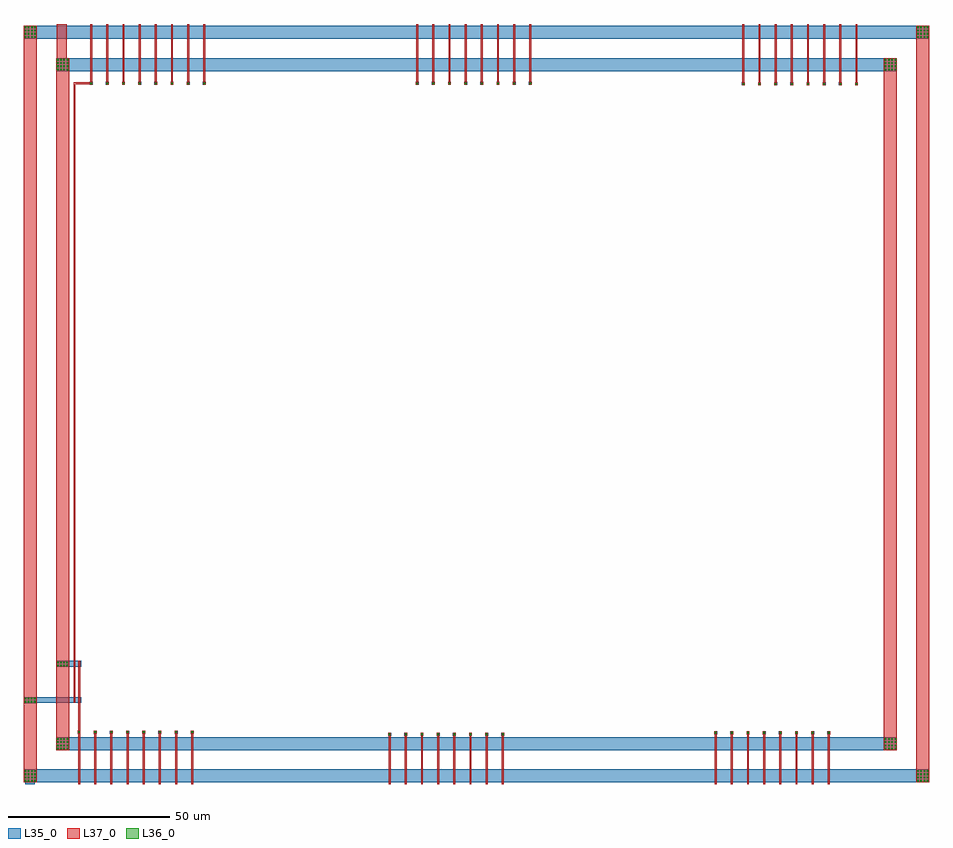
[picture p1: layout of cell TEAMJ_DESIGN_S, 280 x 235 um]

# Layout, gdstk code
import gdstk
lib = gdstk.Library(unit=1e-6, precision=1e-09)
def R(c, l, rs):  # rectangles x0, y0, x1, y1
    for r in rs: c.add(gdstk.rectangle(r[:2], r[2:], *l))
def A(c, l, x, y, w, h, nx, ny, dx, dy):  # array of equal rectangles
    R(c, l, [(x+i*dx, y+j*dy, x+i*dx+w, y+j*dy+h) for i in range(nx) for j in range(ny)])
def P(c, l, *ps):  # polygons
    for p in ps: c.add(gdstk.Polygon(p, *l))
L35_0 = (35, 0)
L36_0 = (36, 0)
L37_0 = (37, 0)

d2_design_io = lib.new_cell('D2_DESIGN_IO')
A(d2_design_io, L35_0, 25.05, -201.85, 0.9, 0.9, 4, 4, 1, 1)
A(d2_design_io, L35_0, 301.05, -201.85, 0.9, 0.9, 4, 4, 1, 1)
A(d2_design_io, L35_0, 35.05, -191.9, 0.9, 0.9, 4, 4, 1, 1)
A(d2_design_io, L35_0, 291.05, -191.9, 0.9, 0.9, 4, 4, 1, 1)
A(d2_design_io, L35_0, 137.7, -187.45, 0.9, 0.9, 8, 1, 5, 0)
A(d2_design_io, L35_0, 238.5, -187, 0.9, 0.9, 8, 1, 5, 0)
A(d2_design_io, L35_0, 41.65, -186.8, 0.9, 0.9, 8, 1, 5, 0)
A(d2_design_io, L35_0, 247.05, 13.65, 0.9, 0.9, 8, 1, 5, 0)
A(d2_design_io, L35_0, 45.4, 13.8, 0.9, 0.9, 8, 1, 5, 0)
A(d2_design_io, L35_0, 146.2, 13.8, 0.9, 0.9, 8, 1, 5, 0)
A(d2_design_io, L35_0, 291.05, 18.1, 0.9, 0.9, 4, 4, 1, 1)
A(d2_design_io, L35_0, 25.05, 28.15, 0.9, 0.9, 4, 4, 1, 1)
A(d2_design_io, L35_0, 301.05, 28.15, 0.9, 0.9, 4, 4, 1, 1)
R(d2_design_io, L35_0, [(25.45,-202.4,28.45,-199.65), (25.05,-201.85,28.95,-197.95), (301.05,-201.85,304.95,-197.95), (35.05,-191.9,38.95,-188), (291.05,-191.9,294.95,-188), (35.05,18.1,38.95,22), (291.05,18.1,294.95,22), (25.05,28.15,28.95,32.05), (301.05,28.15,304.95,32.05)])
A(d2_design_io, L36_0, 25.25, -201.65, 0.5, 0.5, 4, 4, 1, 1)
A(d2_design_io, L36_0, 301.25, -201.65, 0.5, 0.5, 4, 4, 1, 1)
A(d2_design_io, L36_0, 35.25, -191.7, 0.5, 0.5, 4, 4, 1, 1)
A(d2_design_io, L36_0, 291.25, -191.7, 0.5, 0.5, 4, 4, 1, 1)
A(d2_design_io, L36_0, 137.9, -187.25, 0.5, 0.5, 8, 1, 5, 0)
A(d2_design_io, L36_0, 238.7, -186.8, 0.5, 0.5, 8, 1, 5, 0)
A(d2_design_io, L36_0, 41.85, -186.6, 0.5, 0.5, 8, 1, 5, 0)
A(d2_design_io, L36_0, 247.25, 13.85, 0.5, 0.5, 8, 1, 5, 0)
A(d2_design_io, L36_0, 45.6, 14, 0.5, 0.5, 8, 1, 5, 0)
A(d2_design_io, L36_0, 146.4, 14, 0.5, 0.5, 8, 1, 5, 0)
A(d2_design_io, L36_0, 35.25, 18.3, 0.5, 0.5, 4, 4, 1, 1)
A(d2_design_io, L36_0, 291.25, 18.3, 0.5, 0.5, 4, 4, 1, 1)
A(d2_design_io, L36_0, 25.25, 28.35, 0.5, 0.5, 4, 4, 1, 1)
A(d2_design_io, L36_0, 301.25, 28.35, 0.5, 0.5, 4, 4, 1, 1)
A(d2_design_io, L37_0, 25.1, -201.8, 0.8, 0.8, 4, 4, 1, 1)
A(d2_design_io, L37_0, 301.1, -201.8, 0.8, 0.8, 4, 4, 1, 1)
A(d2_design_io, L37_0, 35.1, -191.85, 0.8, 0.8, 4, 4, 1, 1)
A(d2_design_io, L37_0, 291.1, -191.85, 0.8, 0.8, 4, 4, 1, 1)
A(d2_design_io, L37_0, 291.1, 18.15, 0.8, 0.8, 4, 4, 1, 1)
A(d2_design_io, L37_0, 25.1, 28.2, 0.8, 0.8, 4, 4, 1, 1)
A(d2_design_io, L37_0, 301.1, 28.2, 0.8, 0.8, 4, 4, 1, 1)
R(d2_design_io, L37_0, [(25.1,-201.8,28.9,-198), (301.1,-201.8,304.9,-198), (35.1,-191.85,38.9,-188.05), (291.1,-191.85,294.9,-188.05), (291.1,18.15,294.9,21.95), (25.1,28.2,28.9,32), (301.1,28.2,304.9,32)])
P(d2_design_io, L37_0, [(282.1,13.7),(282.9,13.7),(282.9,14.5),(282.8,14.5),(282.8,32.6),(282.2,32.6),(282.2,14.5),(282.1,14.5)],
  [(277.1,13.7),(277.9,13.7),(277.9,14.5),(277.8,14.5),(277.8,32.6),(277.2,32.6),(277.2,14.5),(277.1,14.5)],
  [(272.1,13.7),(272.9,13.7),(272.9,14.5),(272.8,14.5),(272.8,32.6),(272.2,32.6),(272.2,14.5),(272.1,14.5)],
  [(267.1,13.7),(267.9,13.7),(267.9,14.5),(267.8,14.5),(267.8,32.6),(267.2,32.6),(267.2,14.5),(267.1,14.5)],
  [(262.1,13.7),(262.9,13.7),(262.9,14.5),(262.8,14.5),(262.8,32.6),(262.2,32.6),(262.2,14.5),(262.1,14.5)],
  [(257.1,13.7),(257.9,13.7),(257.9,14.5),(257.8,14.5),(257.8,32.6),(257.2,32.6),(257.2,14.5),(257.1,14.5)],
  [(252.1,13.7),(252.9,13.7),(252.9,14.5),(252.8,14.5),(252.8,32.6),(252.2,32.6),(252.2,14.5),(252.1,14.5)],
  [(247.1,13.7),(247.9,13.7),(247.9,14.5),(247.8,14.5),(247.8,32.6),(247.2,32.6),(247.2,14.5),(247.1,14.5)],
  [(181.25,13.85),(182.05,13.85),(182.05,14.65),(181.95,14.65),(181.95,32.6),(181.35,32.6),(181.35,14.65),(181.25,14.65)],
  [(176.25,13.85),(177.05,13.85),(177.05,14.65),(176.95,14.65),(176.95,32.6),(176.35,32.6),(176.35,14.65),(176.25,14.65)],
  [(171.25,13.85),(172.05,13.85),(172.05,14.65),(171.95,14.65),(171.95,32.6),(171.35,32.6),(171.35,14.65),(171.25,14.65)],
  [(166.25,13.85),(167.05,13.85),(167.05,14.65),(166.95,14.65),(166.95,32.6),(166.35,32.6),(166.35,14.65),(166.25,14.65)],
  [(161.25,13.85),(162.05,13.85),(162.05,14.65),(161.95,14.65),(161.95,32.6),(161.35,32.6),(161.35,14.65),(161.25,14.65)],
  [(156.25,13.85),(157.05,13.85),(157.05,14.65),(156.95,14.65),(156.95,32.6),(156.35,32.6),(156.35,14.65),(156.25,14.65)],
  [(151.25,13.85),(152.05,13.85),(152.05,14.65),(151.95,14.65),(151.95,32.6),(151.35,32.6),(151.35,14.65),(151.25,14.65)],
  [(146.25,13.85),(147.05,13.85),(147.05,14.65),(146.95,14.65),(146.95,32.6),(146.35,32.6),(146.35,14.65),(146.25,14.65)],
  [(80.45,13.85),(81.25,13.85),(81.25,14.65),(81.15,14.65),(81.15,32.6),(80.55,32.6),(80.55,14.65),(80.45,14.65)],
  [(75.45,13.85),(76.25,13.85),(76.25,14.65),(76.15,14.65),(76.15,32.6),(75.55,32.6),(75.55,14.65),(75.45,14.65)],
  [(70.45,13.85),(71.25,13.85),(71.25,14.65),(71.15,14.65),(71.15,32.6),(70.55,32.6),(70.55,14.65),(70.45,14.65)],
  [(65.45,13.85),(66.25,13.85),(66.25,14.65),(66.15,14.65),(66.15,32.6),(65.55,32.6),(65.55,14.65),(65.45,14.65)],
  [(60.45,13.85),(61.25,13.85),(61.25,14.65),(61.15,14.65),(61.15,32.6),(60.55,32.6),(60.55,14.65),(60.45,14.65)],
  [(55.45,13.85),(56.25,13.85),(56.25,14.65),(56.15,14.65),(56.15,32.6),(55.55,32.6),(55.55,14.65),(55.45,14.65)],
  [(50.45,13.85),(51.25,13.85),(51.25,14.65),(51.15,14.65),(51.15,32.6),(50.55,32.6),(50.55,14.65),(50.45,14.65)],
  [(45.45,13.85),(46.25,13.85),(46.25,14.65),(46.15,14.65),(46.15,32.6),(45.55,32.6),(45.55,14.65),(45.45,14.65)],
  [(35.1,18.15),(38.9,18.15),(38.9,21.95),(38.25,21.95),(38.25,32.6),(35.25,32.6),(35.25,21.95),(35.1,21.95)],
  [(273.55,-186.95),(273.65,-186.95),(273.65,-202.4),(274.25,-202.4),(274.25,-186.95),(274.35,-186.95),(274.35,-186.15),(273.55,-186.15)],
  [(268.55,-186.95),(268.65,-186.95),(268.65,-202.4),(269.25,-202.4),(269.25,-186.95),(269.35,-186.95),(269.35,-186.15),(268.55,-186.15)],
  [(263.55,-186.95),(263.65,-186.95),(263.65,-202.4),(264.25,-202.4),(264.25,-186.95),(264.35,-186.95),(264.35,-186.15),(263.55,-186.15)],
  [(258.55,-186.95),(258.65,-186.95),(258.65,-202.4),(259.25,-202.4),(259.25,-186.95),(259.35,-186.95),(259.35,-186.15),(258.55,-186.15)],
  [(253.55,-186.95),(253.65,-186.95),(253.65,-202.4),(254.25,-202.4),(254.25,-186.95),(254.35,-186.95),(254.35,-186.15),(253.55,-186.15)],
  [(248.55,-186.95),(248.65,-186.95),(248.65,-202.4),(249.25,-202.4),(249.25,-186.95),(249.35,-186.95),(249.35,-186.15),(248.55,-186.15)],
  [(243.55,-186.95),(243.65,-186.95),(243.65,-202.4),(244.25,-202.4),(244.25,-186.95),(244.35,-186.95),(244.35,-186.15),(243.55,-186.15)],
  [(238.55,-186.95),(238.65,-186.95),(238.65,-202.4),(239.25,-202.4),(239.25,-186.95),(239.35,-186.95),(239.35,-186.15),(238.55,-186.15)],
  [(172.75,-187.4),(172.85,-187.4),(172.85,-202.4),(173.45,-202.4),(173.45,-187.4),(173.55,-187.4),(173.55,-186.6),(172.75,-186.6)],
  [(167.75,-187.4),(167.85,-187.4),(167.85,-202.4),(168.45,-202.4),(168.45,-187.4),(168.55,-187.4),(168.55,-186.6),(167.75,-186.6)],
  [(162.75,-187.4),(162.85,-187.4),(162.85,-202.4),(163.45,-202.4),(163.45,-187.4),(163.55,-187.4),(163.55,-186.6),(162.75,-186.6)],
  [(157.75,-187.4),(157.85,-187.4),(157.85,-202.4),(158.45,-202.4),(158.45,-187.4),(158.55,-187.4),(158.55,-186.6),(157.75,-186.6)],
  [(152.75,-187.4),(152.85,-187.4),(152.85,-202.4),(153.45,-202.4),(153.45,-187.4),(153.55,-187.4),(153.55,-186.6),(152.75,-186.6)],
  [(147.75,-187.4),(147.85,-187.4),(147.85,-202.4),(148.45,-202.4),(148.45,-187.4),(148.55,-187.4),(148.55,-186.6),(147.75,-186.6)],
  [(142.75,-187.4),(142.85,-187.4),(142.85,-202.4),(143.45,-202.4),(143.45,-187.4),(143.55,-187.4),(143.55,-186.6),(142.75,-186.6)],
  [(137.75,-187.4),(137.85,-187.4),(137.85,-202.4),(138.45,-202.4),(138.45,-187.4),(138.55,-187.4),(138.55,-186.6),(137.75,-186.6)],
  [(76.7,-186.75),(76.8,-186.75),(76.8,-202.4),(77.4,-202.4),(77.4,-186.75),(77.5,-186.75),(77.5,-185.95),(76.7,-185.95)],
  [(71.7,-186.75),(71.8,-186.75),(71.8,-202.4),(72.4,-202.4),(72.4,-186.75),(72.5,-186.75),(72.5,-185.95),(71.7,-185.95)],
  [(66.7,-186.75),(66.8,-186.75),(66.8,-202.4),(67.4,-202.4),(67.4,-186.75),(67.5,-186.75),(67.5,-185.95),(66.7,-185.95)],
  [(61.7,-186.75),(61.8,-186.75),(61.8,-202.4),(62.4,-202.4),(62.4,-186.75),(62.5,-186.75),(62.5,-185.95),(61.7,-185.95)],
  [(56.7,-186.75),(56.8,-186.75),(56.8,-202.4),(57.4,-202.4),(57.4,-186.75),(57.5,-186.75),(57.5,-185.95),(56.7,-185.95)],
  [(51.7,-186.75),(51.8,-186.75),(51.8,-202.4),(52.4,-202.4),(52.4,-186.75),(52.5,-186.75),(52.5,-185.95),(51.7,-185.95)],
  [(46.7,-186.75),(46.8,-186.75),(46.8,-202.4),(47.4,-202.4),(47.4,-186.75),(47.5,-186.75),(47.5,-185.95),(46.7,-185.95)],
  [(41.7,-186.75),(41.8,-186.75),(41.8,-202.4),(42.4,-202.4),(42.4,-186.75),(42.5,-186.75),(42.5,-185.95),(41.7,-185.95)])
d2_design_io.add(gdstk.FlexPath([(25,30.1),(305,30.1)], 4, ends="flush", simple_path=True, layer=35, datatype=0))  # L35_0
d2_design_io.add(gdstk.FlexPath([(35,20.05),(295,20.05)], 4, ends="flush", simple_path=True, layer=35, datatype=0))  # L35_0
d2_design_io.add(gdstk.FlexPath([(25,-199.9),(305,-199.9)], 4, ends="flush", simple_path=True, layer=35, datatype=0))  # L35_0
d2_design_io.add(gdstk.FlexPath([(35,-189.95),(295,-189.95)], 4, ends="flush", simple_path=True, layer=35, datatype=0))  # L35_0
d2_design_io.add(gdstk.FlexPath([(27,32.1),(27,-201.9)], 4, ends="flush", simple_path=True, layer=37, datatype=0))  # L37_0
d2_design_io.add(gdstk.FlexPath([(37,22.05),(37,-191.95)], 4, ends="flush", simple_path=True, layer=37, datatype=0))  # L37_0
d2_design_io.add(gdstk.FlexPath([(293,22.05),(293,-191.95)], 4, ends="flush", simple_path=True, layer=37, datatype=0))  # L37_0
d2_design_io.add(gdstk.FlexPath([(303,32.1),(303,-201.9)], 4, ends="flush", simple_path=True, layer=37, datatype=0))  # L37_0
d2_design_io.add(gdstk.Label('vdd', (36.75,32.6), layer=37, texttype=0))
d2_design_io.add(gdstk.Label('A23', (282.5,32.6), layer=37, texttype=0))
d2_design_io.add(gdstk.Label('A22', (277.5,32.6), layer=37, texttype=0))
d2_design_io.add(gdstk.Label('A21', (272.5,32.6), layer=37, texttype=0))
d2_design_io.add(gdstk.Label('A20', (267.5,32.6), layer=37, texttype=0))
d2_design_io.add(gdstk.Label('A19', (262.5,32.6), layer=37, texttype=0))
d2_design_io.add(gdstk.Label('A18', (257.5,32.6), layer=37, texttype=0))
d2_design_io.add(gdstk.Label('A17', (252.5,32.6), layer=37, texttype=0))
d2_design_io.add(gdstk.Label('A16', (247.5,32.6), layer=37, texttype=0))
d2_design_io.add(gdstk.Label('A15', (181.65,32.6), layer=37, texttype=0))
d2_design_io.add(gdstk.Label('A14', (176.65,32.6), layer=37, texttype=0))
d2_design_io.add(gdstk.Label('A13', (171.65,32.6), layer=37, texttype=0))
d2_design_io.add(gdstk.Label('A12', (166.65,32.6), layer=37, texttype=0))
d2_design_io.add(gdstk.Label('A11', (161.65,32.6), layer=37, texttype=0))
d2_design_io.add(gdstk.Label('A10', (156.65,32.6), layer=37, texttype=0))
d2_design_io.add(gdstk.Label('A9', (151.65,32.6), layer=37, texttype=0))
d2_design_io.add(gdstk.Label('A8', (146.65,32.6), layer=37, texttype=0))
d2_design_io.add(gdstk.Label('A7', (80.85,32.6), layer=37, texttype=0))
d2_design_io.add(gdstk.Label('A6', (75.85,32.6), layer=37, texttype=0))
d2_design_io.add(gdstk.Label('A5', (70.85,32.6), layer=37, texttype=0))
d2_design_io.add(gdstk.Label('A4', (65.85,32.6), layer=37, texttype=0))
d2_design_io.add(gdstk.Label('A3', (60.85,32.6), layer=37, texttype=0))
d2_design_io.add(gdstk.Label('A2', (55.85,32.6), layer=37, texttype=0))
d2_design_io.add(gdstk.Label('A1', (50.85,32.6), layer=37, texttype=0))
d2_design_io.add(gdstk.Label('A0', (45.85,32.6), layer=37, texttype=0))
d2_design_io.add(gdstk.Label('Q23', (273.95,-202.4), layer=37, texttype=0))
d2_design_io.add(gdstk.Label('Q22', (268.95,-202.4), layer=37, texttype=0))
d2_design_io.add(gdstk.Label('Q21', (263.95,-202.4), layer=37, texttype=0))
d2_design_io.add(gdstk.Label('Q20', (258.95,-202.4), layer=37, texttype=0))
d2_design_io.add(gdstk.Label('Q19', (253.95,-202.4), layer=37, texttype=0))
d2_design_io.add(gdstk.Label('Q18', (248.95,-202.4), layer=37, texttype=0))
d2_design_io.add(gdstk.Label('Q17', (243.95,-202.4), layer=37, texttype=0))
d2_design_io.add(gdstk.Label('Q16', (238.95,-202.4), layer=37, texttype=0))
d2_design_io.add(gdstk.Label('Q15', (173.15,-202.4), layer=37, texttype=0))
d2_design_io.add(gdstk.Label('Q14', (168.15,-202.4), layer=37, texttype=0))
d2_design_io.add(gdstk.Label('Q13', (163.15,-202.4), layer=37, texttype=0))
d2_design_io.add(gdstk.Label('Q12', (158.15,-202.4), layer=37, texttype=0))
d2_design_io.add(gdstk.Label('Q11', (153.15,-202.4), layer=37, texttype=0))
d2_design_io.add(gdstk.Label('Q10', (148.15,-202.4), layer=37, texttype=0))
d2_design_io.add(gdstk.Label('Q9', (143.15,-202.4), layer=37, texttype=0))
d2_design_io.add(gdstk.Label('Q8', (138.15,-202.4), layer=37, texttype=0))
d2_design_io.add(gdstk.Label('Q7', (77.1,-202.4), layer=37, texttype=0))
d2_design_io.add(gdstk.Label('Q6', (72.1,-202.4), layer=37, texttype=0))
d2_design_io.add(gdstk.Label('Q5', (67.1,-202.4), layer=37, texttype=0))
d2_design_io.add(gdstk.Label('Q4', (62.1,-202.4), layer=37, texttype=0))
d2_design_io.add(gdstk.Label('Q3', (57.1,-202.4), layer=37, texttype=0))
d2_design_io.add(gdstk.Label('Q2', (52.1,-202.4), layer=37, texttype=0))
d2_design_io.add(gdstk.Label('Q1', (47.1,-202.4), layer=37, texttype=0))
d2_design_io.add(gdstk.Label('Q0', (42.1,-202.4), layer=37, texttype=0))
d2_design_io.add(gdstk.Label('gnd', (26.95,-202.4), layer=35, texttype=0))

via1 = lib.new_cell('VIA1')
R(via1, L35_0, [(-0.45,-0.45,0.45,0.45)])
R(via1, L36_0, [(-0.25,-0.25,0.25,0.25)])
R(via1, L37_0, [(-0.4,-0.4,0.4,0.4)])

teamj_powervia = lib.new_cell('TEAMJ_POWERVIA')
R(teamj_powervia, L35_0, [(-1.9,-0.95,1.85,0.9)])
teamj_powervia.add(gdstk.Reference(via1, (1.4,0.45)))
teamj_powervia.add(gdstk.Reference(via1, (1.4,-0.5)))
teamj_powervia.add(gdstk.Reference(via1, (-1.45,0.45)))
teamj_powervia.add(gdstk.Reference(via1, (-1.45,-0.5)))
teamj_powervia.add(gdstk.Reference(via1, (-0.5,-0.5)))
teamj_powervia.add(gdstk.Reference(via1, (0.45,0.45)))
teamj_powervia.add(gdstk.Reference(via1, (-0.5,0.45)))
teamj_powervia.add(gdstk.Reference(via1, (0.45,-0.5)))

inv1_h = lib.new_cell('INV1_H')
inv1_h.add(gdstk.FlexPath([(2.8,0.9),(0,0.9)], 1.8, ends="flush", simple_path=True, layer=35, datatype=0))  # L35_0
inv1_h.add(gdstk.FlexPath([(2.8,12.1),(0,12.1)], 1.8, ends="flush", simple_path=True, layer=35, datatype=0))  # L35_0
inv1_h.add(gdstk.FlexPath([(2.1,0),(2.1,13)], 0.6, ends="flush", simple_path=True, layer=37, datatype=0))  # L37_0
inv1_h.add(gdstk.FlexPath([(0.7,13),(0.7,0)], 0.6, ends="flush", simple_path=True, layer=37, datatype=0))  # L37_0
inv1_h.add(gdstk.Label('INV1', (1.4,6.5), layer=61, texttype=0))
inv1_h.add(gdstk.Label('GND', (2.8,0.9), layer=35, texttype=0))
inv1_h.add(gdstk.Label('VDD', (2.8,12.1), layer=35, texttype=0))
inv1_h.add(gdstk.Label('Q', (2.1,0), layer=37, texttype=0))
inv1_h.add(gdstk.Label('A', (0.7,0), layer=37, texttype=0))
inv1_h.add(gdstk.Label('Q', (2.1,13), layer=37, texttype=0))
inv1_h.add(gdstk.Label('A', (0.7,13), layer=37, texttype=0))
inv1_h.add(gdstk.Label('GND', (0,0.9), layer=35, texttype=0))
inv1_h.add(gdstk.Label('VDD', (0,12.1), layer=35, texttype=0))

teamj_design_s = lib.new_cell('TEAMJ_DESIGN_S')
R(teamj_design_s, L35_0, [(-135,-95.45,-120,-93.65), (-125,-84.25,-120,-82.45)])
teamj_design_s.add(gdstk.FlexPath([(-114.55,96.15),(-119.3,96.15),(-119.3,-82.45)], 0.6, ends="flush", simple_path=True, layer=37, datatype=0))  # L37_0
teamj_design_s.add(gdstk.FlexPath([(-117.9,-95.45),(-117.9,-104.05)], 0.6, ends="flush", simple_path=True, layer=37, datatype=0))  # L37_0
teamj_design_s.add(gdstk.Reference(d2_design_io, (-160,81.9)))
teamj_design_s.add(gdstk.Reference(teamj_powervia, (-133,-94.55)))
teamj_design_s.add(gdstk.Reference(teamj_powervia, (-123,-83.35)))
teamj_design_s.add(gdstk.Reference(inv1_h, (-120,-95.45)))

lib.write_gds('TEAMJ_DESIGN_S.gds')
